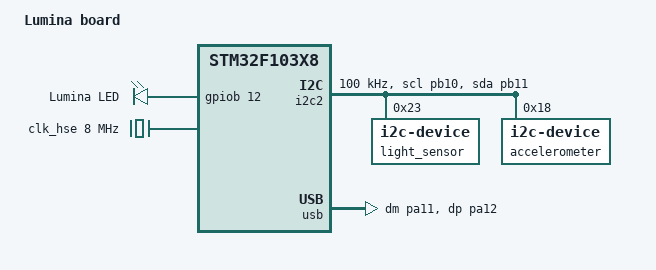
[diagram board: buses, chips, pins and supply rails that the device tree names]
/*
 * SPDX-License-Identifier: Apache-2.0
 */

/dts-v1/;
#include <st/f1/stm32f103X8.dtsi>
#include <st/f1/stm32f103c(8-b)tx-pinctrl.dtsi>

/ {
	model = "Lumina board";
	compatible = "hxzp,lumina";

	chosen {
		zephyr,sram = &sram0;
		zephyr,flash = &flash0;
		zephyr,console = &cdc_acm_uart0;
		zephyr,shell-uart = &cdc_acm_uart0;
	};

	leds {
		compatible = "gpio-leds";

		user_led: led_0 {
			gpios = <&gpiob 12 GPIO_ACTIVE_HIGH>;
			label = "Lumina LED";
		};
	};

	aliases {
		led0 = &user_led;
	};
};

&clk_hse {
	clock-frequency = <DT_FREQ_M(8)>;
	status = "okay";
};

&clk_lsi {
	status = "okay";
};

&pll {
	mul = <9>;
	clocks = <&clk_hse>;
	status = "okay";
};

&rcc {
	clocks = <&pll>;
	clock-frequency = <DT_FREQ_M(72)>;
	ahb-prescaler = <1>;
	apb1-prescaler = <2>;
	apb2-prescaler = <1>;
	adc-prescaler = <6>;
};

&i2c2 {
	pinctrl-0 = <&i2c2_scl_pb10 &i2c2_sda_pb11>;
	pinctrl-names = "default";
	clock-frequency = <I2C_BITRATE_STANDARD>;
	status = "okay";

	light_sensor: light-sensor@23 {
		compatible = "zephyr,i2c-device";
		reg = <0x23>;
	};

	accelerometer: accelerometer@18 {
		compatible = "zephyr,i2c-device";
		reg = <0x18>;
	};
};

zephyr_udc0: &usb {
	pinctrl-0 = <&usb_dm_pa11 &usb_dp_pa12>;
	pinctrl-names = "default";
	status = "okay";

	cdc_acm_uart0: cdc_acm_uart0 {
		compatible = "zephyr,cdc-acm-uart";
		label = "Lumina USB CDC ACM";
	};
};
